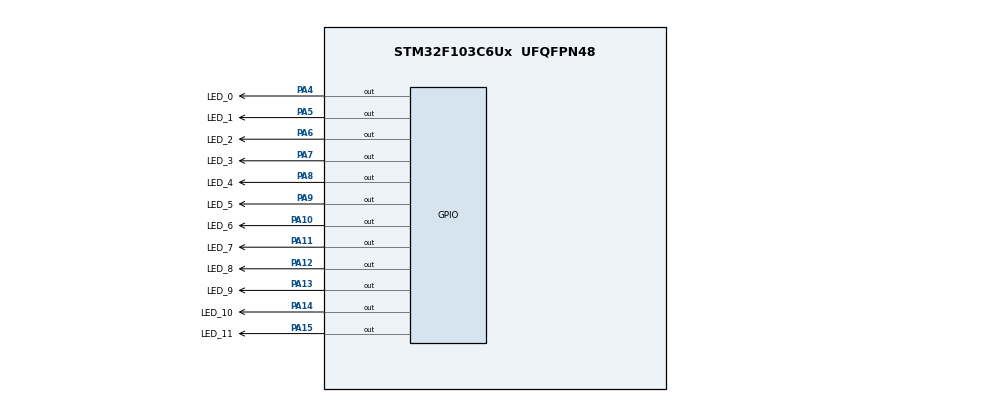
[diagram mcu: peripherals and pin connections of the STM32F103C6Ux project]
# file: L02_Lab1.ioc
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Mcu.Family=STM32F1
Mcu.Name=STM32F103C6Ux
Mcu.Package=UFQFPN48
NVIC.PriorityGroup=NVIC_PRIORITYGROUP_4
PA10.GPIO_Label=LED_6
PA10.Signal=GPIO_Output
PA11.GPIO_Label=LED_7
PA11.Signal=GPIO_Output
PA12.GPIO_Label=LED_8
PA12.Signal=GPIO_Output
PA13.GPIO_Label=LED_9
PA13.Signal=GPIO_Output
PA14.GPIO_Label=LED_10
PA14.Signal=GPIO_Output
PA15.GPIO_Label=LED_11
PA15.Signal=GPIO_Output
PA4.GPIO_Label=LED_0
PA4.Signal=GPIO_Output
PA5.GPIO_Label=LED_1
PA5.Signal=GPIO_Output
PA6.GPIO_Label=LED_2
PA6.Signal=GPIO_Output
PA7.GPIO_Label=LED_3
PA7.Signal=GPIO_Output
PA8.GPIO_Label=LED_4
PA8.Signal=GPIO_Output
PA9.GPIO_Label=LED_5
PA9.Signal=GPIO_Output
ProjectManager.HeapSize=0x200
ProjectManager.StackSize=0x400
ProjectManager.TargetToolchain=STM32CubeIDE
RCC.APB1Freq_Value=8000000
RCC.APB2Freq_Value=8000000
VP_SYS_VS_ND.Mode=No_Debug
board=custom

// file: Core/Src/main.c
/* USER CODE BEGIN Header */
/**
  ******************************************************************************
  * @file           : main.c
  * @brief          : Main program body
  ******************************************************************************
  * @attention
  *
  * <h2><center>&copy; Copyright (c) 2024 STMicroelectronics.
  * All rights reserved.</center></h2>
  *
  * This software component is licensed by ST under BSD 3-Clause license,
  * the "License"; You may not use this file except in compliance with the
  * License. You may obtain a copy of the License at:
  *                        opensource.org/licenses/BSD-3-Clause
  *
  ******************************************************************************
  */
/* USER CODE END Header */
#include "main.h"
#include "void.h"

void SystemClock_Config(void);
static void MX_GPIO_Init(void);

int main(void)
{

  /* MCU Configuration--------------------------------------------------------*/

  /* Reset of all peripherals, Initializes the Flash interface and the Systick. */
  HAL_Init();

  /* Configure the system clock */
  SystemClock_Config();

  /* Initialize all configured peripherals */
  MX_GPIO_Init();

  /* Infinite loop */
  /* USER CODE BEGIN WHILE */
  int hour = 9;
  int min = 0;
  int sec = 0;
  while (1)
  {
	  clearAllClock();
	  setNumberOnClock(hour);
	  setNumberOnClock(min);
	  setNumberOnClock(sec);
  	  sec++;

  	  if (sec == 12)
  	  {
  		  sec = 0;
  		  min ++;
  	  }

  	  if (min == 12)
  	  {
  		  min = 0;
  		  hour ++;
  	  }

  	  if (hour == 12)
  	  {
  		  hour = 0;
  	  }

  	  HAL_Delay(1000);

    /* USER CODE END WHILE */

  }
}

void SystemClock_Config(void)
{
  RCC_OscInitTypeDef RCC_OscInitStruct = {0};
  RCC_ClkInitTypeDef RCC_ClkInitStruct = {0};

  /** Initializes the RCC Oscillators according to the specified parameters
  * in the RCC_OscInitTypeDef structure.
  */
  RCC_OscInitStruct.OscillatorType = RCC_OSCILLATORTYPE_HSI;
  RCC_OscInitStruct.HSIState = RCC_HSI_ON;
  RCC_OscInitStruct.HSICalibrationValue = RCC_HSICALIBRATION_DEFAULT;
  RCC_OscInitStruct.PLL.PLLState = RCC_PLL_NONE;
  if (HAL_RCC_OscConfig(&RCC_OscInitStruct) != HAL_OK)
  {
    Error_Handler();
  }
  /** Initializes the CPU, AHB and APB buses clocks
  */
  RCC_ClkInitStruct.ClockType = RCC_CLOCKTYPE_HCLK|RCC_CLOCKTYPE_SYSCLK
                              |RCC_CLOCKTYPE_PCLK1|RCC_CLOCKTYPE_PCLK2;
  RCC_ClkInitStruct.SYSCLKSource = RCC_SYSCLKSOURCE_HSI;
  RCC_ClkInitStruct.AHBCLKDivider = RCC_SYSCLK_DIV1;
  RCC_ClkInitStruct.APB1CLKDivider = RCC_HCLK_DIV1;
  RCC_ClkInitStruct.APB2CLKDivider = RCC_HCLK_DIV1;

  if (HAL_RCC_ClockConfig(&RCC_ClkInitStruct, FLASH_LATENCY_0) != HAL_OK)
  {
    Error_Handler();
  }
}

static void MX_GPIO_Init(void)
{
  GPIO_InitTypeDef GPIO_InitStruct = {0};

  /* GPIO Ports Clock Enable */
  __HAL_RCC_GPIOA_CLK_ENABLE();

  /*Configure GPIO pin Output Level */
  HAL_GPIO_WritePin(GPIOA, LED_0_Pin|LED_1_Pin|LED_2_Pin|LED_3_Pin
                          |LED_4_Pin|LED_5_Pin|LED_6_Pin|LED_7_Pin
                          |LED_8_Pin|LED_9_Pin|LED_10_Pin|LED_11_Pin, GPIO_PIN_RESET);

  /*Configure GPIO pins : LED_0_Pin LED_1_Pin LED_2_Pin LED_3_Pin
                           LED_4_Pin LED_5_Pin LED_6_Pin LED_7_Pin
                           LED_8_Pin LED_9_Pin LED_10_Pin LED_11_Pin */
  GPIO_InitStruct.Pin = LED_0_Pin|LED_1_Pin|LED_2_Pin|LED_3_Pin
                          |LED_4_Pin|LED_5_Pin|LED_6_Pin|LED_7_Pin
                          |LED_8_Pin|LED_9_Pin|LED_10_Pin|LED_11_Pin;
  GPIO_InitStruct.Mode = GPIO_MODE_OUTPUT_PP;
  GPIO_InitStruct.Pull = GPIO_NOPULL;
  GPIO_InitStruct.Speed = GPIO_SPEED_FREQ_LOW;
  HAL_GPIO_Init(GPIOA, &GPIO_InitStruct);

}

void Error_Handler(void)
{
  __disable_irq();
  while (1)
  {
  }
}

/************************ (C) COPYRIGHT STMicroelectronics *****END OF FILE****/
